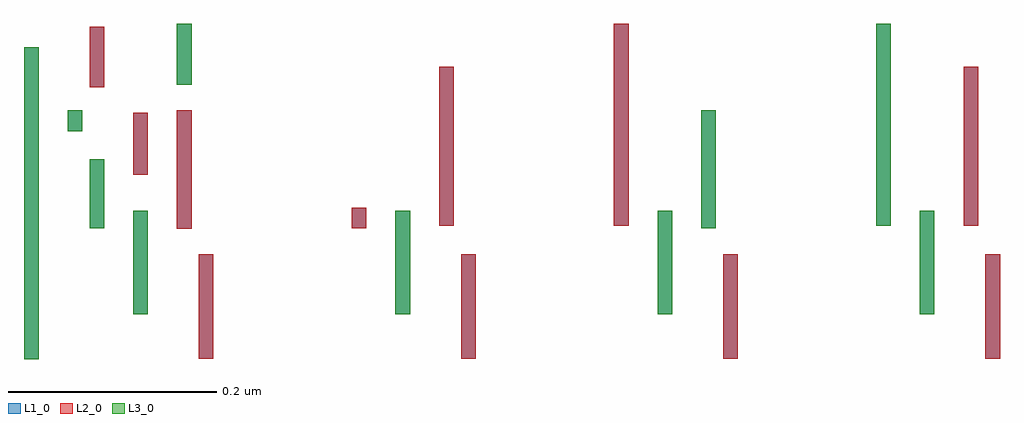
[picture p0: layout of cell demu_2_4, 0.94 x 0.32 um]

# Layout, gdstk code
import gdstk
lib = gdstk.Library(unit=1e-6, precision=5e-10)
def R(c, l, rs):  # rectangles x0, y0, x1, y1
    for r in rs: c.add(gdstk.rectangle(r[:2], r[2:], *l))
L1_0 = (1, 0)
L2_0 = (2, 0)
L3_0 = (3, 0)

and_2 = lib.new_cell('and_2')
R(and_2, L1_0, [(0.5425,0.2205,0.5565,0.3205), (0.4795,0.263,0.4935,0.3625)])
R(and_2, L2_0, [(0.5425,0.2205,0.5565,0.3205)])
R(and_2, L3_0, [(0.4795,0.263,0.4935,0.3625)])

demu_2_4 = lib.new_cell('demu_2_4')
R(demu_2_4, L1_0, [(0.001,0.0725,0.015,0.372), (0.148,0.1975,0.162,0.3115), (0.064,0.198,0.078,0.2645), (0.316,0.198,0.33,0.218), (0.652,0.198,0.666,0.3115), (0.4,0.2005,0.414,0.3535), (0.568,0.2005,0.582,0.3945), (0.82,0.2005,0.834,0.3945), (0.904,0.2005,0.918,0.3535), (0.106,0.2495,0.12,0.309), (0.043,0.2915,0.057,0.3115), (0.064,0.3335,0.078,0.392), (0.148,0.336,0.162,0.3945)])
R(demu_2_4, L2_0, [(0.148,0.1975,0.162,0.3115), (0.316,0.198,0.33,0.218), (0.4,0.2005,0.414,0.3535), (0.568,0.2005,0.582,0.3945), (0.904,0.2005,0.918,0.3535), (0.106,0.2495,0.12,0.309), (0.064,0.3335,0.078,0.392)])
R(demu_2_4, L3_0, [(0.001,0.0725,0.015,0.372), (0.064,0.198,0.078,0.2645), (0.652,0.198,0.666,0.3115), (0.82,0.2005,0.834,0.3945), (0.043,0.2915,0.057,0.3115), (0.148,0.336,0.162,0.3945)])
demu_2_4.add(gdstk.Reference(and_2, (-0.1215,-0.1475)))
demu_2_4.add(gdstk.Reference(and_2, (0.1305,-0.1475)))
demu_2_4.add(gdstk.Reference(and_2, (0.3825,-0.1475)))
demu_2_4.add(gdstk.Reference(and_2, (-0.3735,-0.1475)))

lib.write_gds('demu_2_4.gds')
